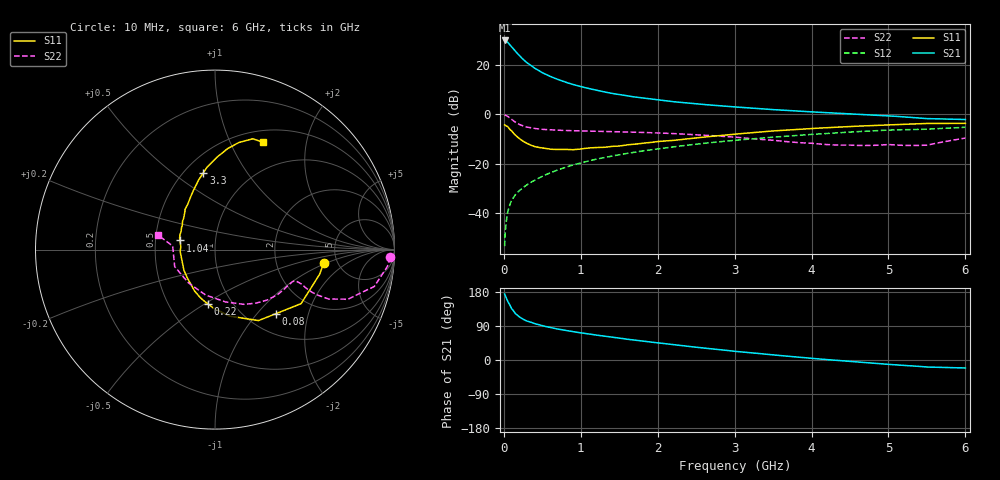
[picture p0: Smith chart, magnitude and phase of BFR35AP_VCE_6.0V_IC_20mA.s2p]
! Infineon Technologies  Discrete & RF Semiconductors
! BFR35AP
! VCE =  6.0 V,  IC =  20 mA
! Common Emitter S-Parameters:  Nov 2015
# GHz  S  MA  R  50
!  f  S11  S21  S12  S22
! GHz  MAG  ANG  MAG  ANG  MAG  ANG  MAG  ANG
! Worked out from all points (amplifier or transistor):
!   210 points, 10 MHz to 6 GHz, reference 50 ohm
!   highest |S21| = 30.0 dB at 10 MHz (marker M1)
!   |S21| within 3 dB of that: start of sweep to 113.7 MHz
!   unconditionally stable (mu >= 1): 425.1 MHz to 2.764 GHz
!   at 185 MHz: K = 0.72, MSG = 28.0 dB, |S12| = -31.5 dB
!   at 1.52 GHz: K = 1.09, MAG = 10.3 dB, |S12| = -16.3 dB
!   at 6 GHz: K = 0.91, MSG = 1.6 dB, |S12| = -5.3 dB
!   S11 on the Smith chart (normalised r, x): 10 MHz: 3.92, -0.91; 80 MHz: 1.34, -1.26; 220 MHz: 0.78, -0.52; 1.04 GHz: 0.67, +0.07; 3.3 GHz: 0.62, +0.65; 6 GHz: 0.64, +1.34
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0.01  0.6114 -6.8  31.64 174.2  0.0021 88.2  0.9773 -2.5
0.02  0.5988 -13.3  31.21 168.9  0.0043 83.8  0.9651 -5.6
0.05  0.5664 -32.1  29.14 154.6  0.0104 76.2  0.9114 -13.0
0.08  0.4916 -46.7  25.6 144.3  0.0148 71.8  0.8369 -17.2
0.1  0.4638 -58.5  23.81 135.9  0.0178 70.1  0.7901 -20.5
0.15  0.3787 -77.9  19.09 122.4  0.0233 65.9  0.6909 -23.5
0.2  0.3236 -92.2  15.65 114.0  0.028 66.4  0.625 -23.9
0.22  0.3061 -97.1  14.59 111.7  0.0298 66.5  0.607 -23.8
0.26  0.2785 -107.5  12.67 106.7  0.0333 67.0  0.5742 -23.5
0.3  0.2573 -116.2  11.18 102.7  0.037 68.1  0.551 -22.9
0.4  0.2218 -133.4  8.657 96.1  0.0458 69.2  0.5159 -21.7
0.5  0.2078 -146.5  7 90.3  0.0549 70.3  0.4947 -21.3
0.7  0.1935 -169.1  5.119 81.7  0.0739 70.7  0.4763 -21.6
1.02  0.1994 166.7  3.593 71.1  0.1048 69.4  0.4596 -24.4
1.04  0.2013 165.4  3.533 70.5  0.1069 69.3  0.4587 -24.6
1.4  0.2234 146.8  2.67 60.4  0.1412 66.7  0.4462 -29.3
2.02  0.2815 125.8  1.946 44.9  0.201 60.9  0.4168 -39.7
3.1  0.4076 101.9  1.378 21.2  0.3057 48.9  0.3332 -65.1
3.3  0.433 98.6  1.309 17.4  0.3244 46.4  0.313 -71.5
4.1  0.5253 87.5  1.1 2.7  0.3997 36.5  0.2499 -106.6
5.1  0.6185 76.2  0.91 -12.8  0.4822 22.3  0.2378 -162.5
6  0.6556 65.8  0.785 -21.1  0.5459 11.6  0.3301 165.5
